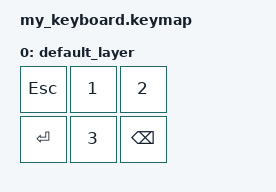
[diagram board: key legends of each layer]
#include <behaviors.dtsi>
#include <dt-bindings/zmk/keys.h>

/ {
    keymap {
        compatible = "zmk,keymap";
        default_layer {
            bindings = <
                &kp ESC   &kp 1 &kp 2
                &kp ENTER &kp 3 &kp BSPC
            >;
        };
    };
};
